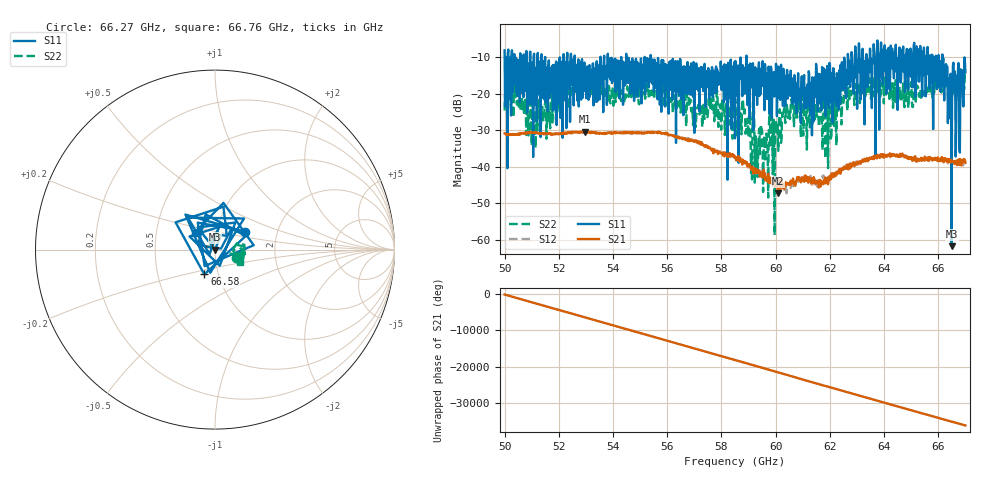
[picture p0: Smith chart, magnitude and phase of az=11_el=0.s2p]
!Created with skrf (http://scikit-rf.org).
# GHz S RI R 50.0
!freq ReS11 ImS11 ReS21 ImS21 ReS12 ImS12 ReS22 ImS22
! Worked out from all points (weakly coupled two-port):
!   1001 points, 50 GHz to 67 GHz, reference 50 ohm
!   highest |S21| = -30.33 dB at 52.98 GHz (marker M1); lowest = -47.2 dB at 60.1 GHz (marker M2)
!   lowest |S11| = -61.8 dB at 66.49 GHz (marker M3), VSWR 1.00, Z = 50.1 + j0.0314 ohm
!   |S11| at or under -10 dB: 52.58 GHz to 53.53 GHz (949.4 MHz wide, 1.79 % of centre); 55.39 GHz to 58.92 GHz (3.533 GHz wide, 6.18 % of centre); 58.93 GHz to 62.66 GHz (3.735 GHz wide, 6.14 % of centre) (the widest 3 of 62)
!   |S22| runs from -58.8 to -13.4 dB; largest |S21 - S12| = 0.0022
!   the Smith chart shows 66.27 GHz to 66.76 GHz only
!   S11 on the Smith chart (normalised r, x): 66.27 GHz: 1.37, +0.28; 66.58 GHz: 0.86, -0.24; 66.76 GHz: 0.78, +0.15
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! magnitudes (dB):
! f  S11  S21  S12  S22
! 50 GHz  -8.1  -30.8  -31.0  -24.6
! 50.15 GHz  -21.4  -31.2  -31.3  -20.8
! 51.07 GHz  -9.9  -30.7  -30.5  -26.2
! 52.84 GHz  -12.0  -30.5  -30.5  -19.7
! 52.98 GHz  -14.6  -30.3  -30.3  -19.3
! 55.68 GHz  -13.2  -30.4  -30.4  -21.4
! 58.5 GHz  -32.2  -37.5  -37.8  -23.8
! 58.86 GHz  -19.9  -38.8  -38.4  -24.3
! 59.3 GHz  -15.2  -41.8  -40.3  -40.0
! 60.1 GHz  -12.5  -47.2  -44.0  -35.6
! 60.64 GHz  -15.8  -43.2  -45.3  -22.5
! 61.34 GHz  -31.4  -43.2  -44.9  -26.9
! 61.88 GHz  -16.0  -44.1  -44.0  -24.1
! 62.61 GHz  -16.3  -40.6  -39.4  -19.7
! 64.18 GHz  -11.9  -36.9  -36.7  -17.5
! 66.27 GHz  -14.2  -38.0  -38.1  -17.9
! 66.44 GHz  -20.6  -38.6  -38.2  -16.1
! 66.49 GHz  -61.8  -38.4  -38.9  -15.5
! 66.58 GHz  -16.5  -38.5  -38.6  -15.6
! 66.61 GHz  -13.9  -39.2  -38.9  -16.8
! 66.76 GHz  -16.7  -37.9  -38.9  -16.0
! 67 GHz  -14.1  -38.9  -38.8  -14.3
